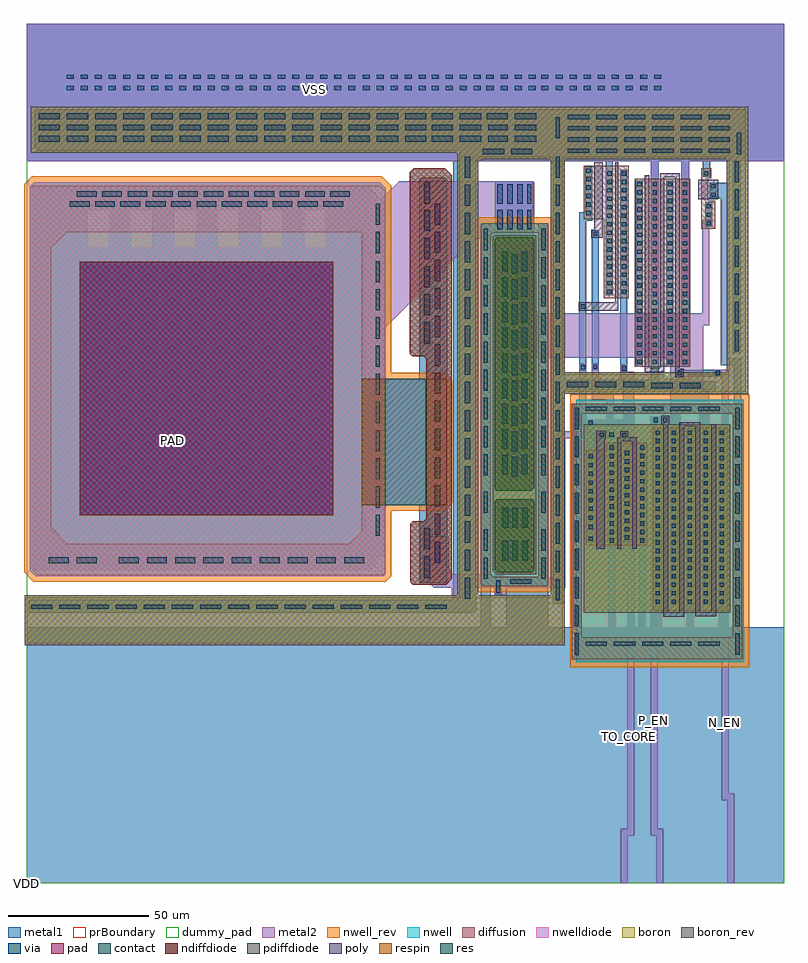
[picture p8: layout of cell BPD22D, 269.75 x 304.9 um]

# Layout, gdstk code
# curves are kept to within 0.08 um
import gdstk
lib = gdstk.Library(unit=1e-6, precision=1e-09)
def R(c, l, rs):  # rectangles x0, y0, x1, y1
    for r in rs: c.add(gdstk.rectangle(r[:2], r[2:], *l))
def A(c, l, x, y, w, h, nx, ny, dx, dy):  # array of equal rectangles
    R(c, l, [(x+i*dx, y+j*dy, x+i*dx+w, y+j*dy+h) for i in range(nx) for j in range(ny)])
def P(c, l, *ps):  # polygons
    for p in ps: c.add(gdstk.Polygon(p, *l))
nwell = (1, 0)
diffusion = (2, 0)
nwell_rev = (3, 0)
poly = (4, 0)
boron = (5, 0)
boron_rev = (6, 0)
contact = (7, 0)
metal1 = (8, 0)
via = (9, 0)
metal2 = (10, 0)
pad = (11, 0)
prBoundary = (28, 0)
res = (35, 0)
respin = (36, 0)
pdiffdiode = (37, 0)
nwelldiode = (38, 0)
ndiffdiode = (39, 0)
dummy_pad = (40, 0)

bpd22d = lib.new_cell('BPD22D')
R(bpd22d, nwell, [(195,78.6,254.45,171.45)])
P(bpd22d, nwell, [(161.5,105.25),(161.15,105.6),(161.15,233.95),(161.45,234.25),(185,234.25),(185.15,234.1),(185.15,105.6),(184.8,105.25)],
  [(3.15,108.95),(1.05,111.05),(1.05,247.25),(2.6,248.8),(125.25,248.8),(127.4,246.65),(127.4,179.652),(128.002,179.05),(147.45,179.05),(149.1,177.4),(149.1,135.7),(147.45,134.05),(128.058,134.05),(127.45,133.442),(127.45,109.75),(126.65,108.95)])
R(bpd22d, diffusion, [(222.2,96.6,249,161.6), (215.75,183.3,235.45,250)])
P(bpd22d, diffusion, [(162.101,105.25),(161.15,106.201),(161.15,233.344),(162.056,234.25),(181.65,234.25),(181.65,230.75),(165.536,230.75),(164.65,229.864),(164.65,109.515),(165.415,108.75),(181.395,108.75),(181.65,109.005),(181.65,234.25),(184.95,234.25),(185.15,234.05),(185.15,106.052),(184.348,105.25)],
  [(3.95,109.3),(1.05,112.2),(1.05,246.563),(2.037,247.55),(119,247.55),(119,231),(14.214,231),(8.7,225.486),(8.7,126.204),(14.404,120.5),(114.449,120.5),(119,125.051),(119,247.55),(125.563,247.55),(127.35,245.763),(127.35,109.952),(126.698,109.3)],
  [(137.101,105.95),(136.1,106.951),(136.1,127.549),(136.951,128.4),(140.987,128.4),(141.85,129.263),(141.85,185.999),(140.849,187),(136.906,187),(136,187.906),(136,252.285),(137.365,253.65),(148.4,253.65),(150.9,251.15),(150.9,108.002),(148.848,105.95)],
  [(0,85.15),(0,101.45),(153.45,101.45),(153.45,259.248),(152.848,259.85),(3.814,259.85),(2.85,260.814),(2.85,273.45),(4.05,274.65),(186.75,274.65),(186.75,257.65),(160.704,257.65),(159.55,256.496),(159.552,101.45),(186.295,101.45),(186.75,101.905),(186.75,274.65),(249.15,274.65),(249.15,257.65),(190.25,257.65),(190.25,180.6),(226.3,180.6),(226.3,178.95),(234.75,178.95),(234.75,180.6),(249.15,180.6),(249.15,274.65),(255.3,274.65),(255.3,174.4),(190.25,174.4),(190.25,85.15)],
  [(193.4,79.4),(193.4,87.2),(193.45,87.2),(193.45,170.1),(250.55,170.1),(250.55,166.6),(196.95,166.6),(196.95,87.2),(250.55,87.2),(250.55,170.1),(254.05,170.1),(254.05,79.4)],
  [(167.105,110.25),(166.15,111.205),(166.15,135.6),(166.8,136.25),(179.65,136.25),(180.15,135.75),(180.15,111.15),(179.25,110.25)],
  [(166.752,139.25),(166.15,139.852),(166.15,228.35),(167.05,229.25),(179.448,229.25),(180.15,228.548),(180.15,140.156),(179.244,139.25)],
  [(198.5,119.85),(198.5,153.85),(205.7,153.85),(205.7,156.35),(220.2,156.35),(220.2,119.85)],
  [(239.5,232.3),(239.5,253.65),(243,253.65),(243,250.15),(242,250.15),(242,242.15),(244.45,242.15),(244.45,232.3)],
  [(204.9,207.6),(204.9,235.6),(197.7,235.6),(197.7,254.6),(213.75,254.6),(213.75,207.6)])
R(bpd22d, nwell_rev, [(193,76.6,256.45,173.45)])
P(bpd22d, nwell_rev, [(160.672,103.25),(159.15,104.772),(159.15,234.778),(160.622,236.25),(185.828,236.25),(187.15,234.928),(187.15,104.772),(185.628,103.25)],
  [(2.322,106.95),(-0.95,110.222),(-0.95,248.078),(1.772,250.8),(126.078,250.8),(129.4,247.478),(129.4,181.05),(148.278,181.05),(151.1,178.228),(151.1,134.872),(148.278,132.05),(129.45,132.05),(129.45,108.922),(127.478,106.95)])
R(bpd22d, poly, [(238.3,242.65,245.45,249.65)])
P(bpd22d, poly, [(225.9,94.55),(225.9,162.9),(225.2,162.9),(225.2,165.8),(228.15,165.8),(228.15,162.9),(227.7,162.9),(227.7,96.1),(231.6,96.1),(231.6,163.6),(239.1,163.6),(239.1,96.1),(243,96.1),(243,162.8),(244.8,162.8),(244.8,94.6),(237.3,94.6),(237.3,162.1),(233.4,162.1),(233.4,94.55)],
  [(230.25,179.55),(230.25,250.5),(226.35,250.5),(226.35,181.3),(219.45,181.3),(219.45,251.2),(220.95,251.2),(220.95,182.8),(224.85,182.8),(224.85,252),(231.75,252),(231.75,182.45),(233.2,182.45),(233.2,179.55)],
  [(202.2,118.65),(202.2,160.6),(205.6,160.6),(205.6,157.7),(205.2,157.7),(205.2,118.65)],
  [(209.6,118.65),(209.6,158.25),(210.6,158.25),(210.6,160.35),(213.55,160.35),(213.55,158.25),(216.5,158.25),(216.5,118.65),(215,118.65),(215,156.85),(211.1,156.85),(211.1,118.65)],
  [(200.4,229),(200.4,231.9),(201.4,231.9),(201.4,255.85),(204.4,255.85),(204.4,229)],
  [(196,203.15),(196,206.05),(208.85,206.05),(208.85,255.85),(210.05,255.85),(210.05,203.15)])
R(bpd22d, boron, [(197.8,95.9,249.8,162.85)])
P(bpd22d, boron, [(166.6,109.55),(165.45,110.7),(165.45,229.5),(165.9,229.95),(180.85,229.95),(180.85,109.55)],
  [(-0.7,84.45),(-0.7,102.15),(152.75,102.15),(152.75,258.6),(152.2,259.15),(1.4,259.15),(1.4,275.45),(186.05,275.45),(186.05,256.95),(161.451,256.95),(160.25,255.749),(160.25,102.15),(185.7,102.15),(186.05,102.5),(186.05,275.45),(248.45,275.45),(248.45,256.95),(190.95,256.95),(190.95,181.35),(248.45,181.35),(248.45,275.45),(256.05,275.45),(256.05,173.7),(190.95,173.7),(190.95,84.45)])
R(bpd22d, boron_rev, [(197.8,95.9,249.8,162.85)])
P(bpd22d, boron_rev, [(166.6,109.55),(165.45,110.7),(165.45,229.5),(165.9,229.95),(180.85,229.95),(180.85,109.55)],
  [(-0.7,84.45),(-0.7,102.15),(152.75,102.15),(152.75,258.6),(152.2,259.15),(1.4,259.15),(1.4,275.45),(186.05,275.45),(186.05,256.95),(161.451,256.95),(160.25,255.749),(160.25,102.15),(185.7,102.15),(186.05,102.5),(186.05,275.45),(248.45,275.45),(248.45,256.95),(190.95,256.95),(190.95,181.35),(248.45,181.35),(248.45,275.45),(256.05,275.45),(256.05,173.7),(190.95,173.7),(190.95,84.45)])
A(bpd22d, contact, 194.45, 81.1, 1.5, 7.5, 1, 9, 0, 10)
A(bpd22d, contact, 251.55, 81.1, 1.5, 7.5, 1, 9, 0, 10)
A(bpd22d, contact, 198.45, 84.2, 7.5, 1.5, 5, 2, 10, 83.4)
A(bpd22d, contact, 1.55, 97.3, 7.5, 1.5, 15, 1, 10, 0)
A(bpd22d, contact, 223.2, 99.1, 1.5, 1.5, 5, 3, 5.7, 3)
A(bpd22d, contact, 187.75, 100.35, 1.5, 7.5, 1, 16, 0, 10)
A(bpd22d, contact, 155.45, 100.85, 2, 7.5, 1, 3, 0, 10)
A(bpd22d, contact, 223.2, 108.1, 1.5, 1.5, 3, 6, 11.4, 6)
A(bpd22d, contact, 223.2, 111.1, 1.5, 1.5, 5, 6, 5.7, 6)
A(bpd22d, contact, 32.75, 113.55, 7, 2, 9, 1, 10, 0)
A(bpd22d, contact, 168.85, 114.4, 2, 7, 3, 2, 3.5, 11.75)
A(bpd22d, contact, 206.9, 120.85, 1.5, 1.5, 1, 12, 0, 3)
A(bpd22d, contact, 217.7, 120.85, 1.5, 1.5, 1, 12, 0, 3)
A(bpd22d, contact, 123.85, 123.25, 1.5, 7.5, 1, 10, 0, 10)
A(bpd22d, contact, 144.85, 123.65, 2, 7.5, 1, 12, 0, 10)
A(bpd22d, contact, 155.45, 130.35, 2, 7.5, 1, 13, 0, 10)
A(bpd22d, contact, 212.3, 130.85, 1.5, 1.5, 1, 4, 0, 3)
A(bpd22d, contact, 223.2, 144.1, 1.5, 1.5, 5, 2, 5.7, 6)
A(bpd22d, contact, 172.25, 144.25, 2, 7, 1, 9, 0, 9)
A(bpd22d, contact, 162.15, 144.65, 1.5, 7.5, 1, 9, 0, 10)
A(bpd22d, contact, 182.65, 144.65, 1.5, 7.5, 1, 9, 0, 10)
A(bpd22d, contact, 168.75, 145.05, 2, 7, 1, 9, 0, 9)
A(bpd22d, contact, 175.75, 145.05, 2, 7, 1, 9, 0, 9)
A(bpd22d, contact, 223.2, 147.1, 1.5, 1.5, 3, 2, 11.4, 9)
A(bpd22d, contact, 223.2, 153.1, 1.5, 1.5, 5, 2, 5.7, 6)
A(bpd22d, contact, 191.75, 175.9, 7.5, 2, 3, 1, 10, 0)
A(bpd22d, contact, 216.75, 184.3, 1.5, 1.5, 4, 4, 5.4, 6)
A(bpd22d, contact, 222.15, 187.3, 1.5, 1.5, 1, 3, 0, 6)
A(bpd22d, contact, 232.95, 187.3, 1.5, 1.5, 1, 3, 0, 6)
A(bpd22d, contact, 251.3, 188.75, 1.5, 7.5, 1, 7, 0, 10)
A(bpd22d, contact, 141.05, 191.45, 2, 7.5, 1, 5, 0, 10)
A(bpd22d, contact, 216.75, 205.3, 1.5, 1.5, 4, 8, 5.4, 6)
A(bpd22d, contact, 216.75, 208.3, 1.5, 1.5, 1, 7, 0, 6)
A(bpd22d, contact, 227.55, 208.3, 1.5, 1.5, 1, 7, 0, 6)
A(bpd22d, contact, 206.1, 209.1, 1.5, 1.5, 1, 15, 0, 3)
A(bpd22d, contact, 211.25, 209.1, 1.5, 1.5, 1, 15, 0, 3)
A(bpd22d, contact, 198.7, 237.1, 1.5, 1.5, 1, 6, 0, 3)
A(bpd22d, contact, 15.3, 240.05, 7, 2, 11, 1, 9, 0)
A(bpd22d, contact, 17.8, 243.55, 7, 2, 10, 1, 9, 0)
A(bpd22d, contact, 192.1, 259.15, 7.5, 1.5, 6, 4, 10, 4)
A(bpd22d, contact, 4.3, 263.15, 7.5, 2, 14, 3, 10, 4)
A(bpd22d, contact, 143.8, 263.15, 7.5, 2, 1, 3, 0, 4)
A(bpd22d, contact, 173.3, 263.15, 7.5, 2, 1, 3, 0, 4)
R(bpd22d, contact, [(171.55,106.25,179.05,107.75), (162.15,108,163.65,115.5), (182.65,108,184.15,115.5), (141.05,108.4,143.05,115.9), (7.85,113.55,14.85,115.55), (17.85,113.55,24.85,115.55), (162.15,118,163.65,125.5), (182.65,118,184.15,125.5), (141.05,118.45,143.05,125.95), (199.5,121.45,201,122.95), (212.3,121.85,213.8,123.35), (212.3,124.85,213.8,126.35), (199.5,125.65,201,127.15), (199.5,128.9,201,130.4), (162.15,131.4,163.65,138.9), (182.65,131.4,184.15,138.9), (199.5,132.1,201,133.6), (199.5,135.1,201,136.6), (199.5,138.3,201,139.8), (199.5,141.3,201,142.8), (199.5,144.5,201,146), (212.3,145.85,213.8,147.35), (199.5,147.5,201,149), (199.5,150.7,201,152.2), (212.3,151.85,213.8,153.35), (211.35,158.15,212.85,159.65), (203.4,158.4,204.9,159.9), (225.95,163.6,227.45,165.1), (221.75,175.65,229.25,177.65), (231.75,175.65,239.25,177.65), (231,180.25,232.5,181.75), (196.7,203.85,198.2,205.35), (123.85,223.6,125.35,231.1), (201.1,229.7,202.6,231.2), (123.85,233.6,125.35,241.1), (241.35,236.45,242.85,237.95), (241.35,239.45,242.85,240.95), (141.05,241.15,143.05,248.65), (107.8,243.55,114.7,245.55), (243,243.55,244.5,245.05), (243,246.55,244.5,248.05), (240.5,251.15,242,252.65), (161.95,258.65,169.45,260.65), (171.95,258.65,179.45,260.65), (252.1,258.75,253.6,266.25), (153.65,263.15,161.3,265.15), (163.8,263.15,170.8,265.15), (187.75,264.35,189.25,271.85), (153.65,267.15,161.3,269.15), (163.8,267.15,170.8,269.15), (153.8,271.15,161.3,273.15), (163.3,271.15,170.8,273.15)])
R(bpd22d, metal1, [(0,0,268.8,90.7), (228.4,98.6,230.9,161.1), (239.8,98.6,242.3,161.1), (211.8,121.35,214.3,155.05), (202.9,157.9,208.8,160.4), (222,163.1,228,165.6), (230.5,179.75,246.5,182.25), (210.75,181.4,213.25,253.15), (216.25,183.8,218.75,249.3), (227.05,183.8,229.55,249.3), (240.85,232.95,243.35,241.55), (0,256.2,268.8,304.9)])
P(bpd22d, metal1, [(0.75,95.85),(0.75,100.5),(151.35,100.5),(151.35,256.2),(0,256.2),(0,304.9),(221.55,304.9),(221.55,256.2),(208.1,256.2),(208.1,208.6),(205.6,208.6),(205.6,256.2),(190.95,256.2),(190.95,178.6),(221.55,178.6),(221.55,304.9),(268.8,304.9),(268.8,256.2),(253.45,256.2),(253.45,188),(250.6,188),(250.6,256.2),(242.6,256.2),(242.6,250.65),(240,250.65),(240,256.2),(235.1,256.2),(235.1,183.8),(232.35,183.8),(232.35,256.2),(224.3,256.2),(224.3,178.15),(244.6,178.15),(244.6,175.1),(190.95,175.1),(190.95,99.3),(190.85,99.2),(186.85,99.2),(186.75,99.3),(186.75,255.344),(185.894,256.2),(160.252,256.2),(159.55,255.498),(159.55,97.066),(158.334,95.85)],
  [(2.45,110.8),(1.75,111.5),(1.75,245.949),(3.351,247.55),(29.2,247.55),(29.2,238.55),(21.5,238.55),(21.5,225.55),(29.2,225.55),(29.2,247.55),(44.6,247.55),(44.6,238.55),(36.9,238.55),(36.9,225.55),(44.6,225.55),(44.6,247.55),(60,247.55),(60,238.55),(52.3,238.55),(52.3,225.55),(60,225.55),(60,247.55),(75.4,247.55),(75.4,238.55),(67.7,238.55),(67.7,225.55),(75.4,225.55),(75.4,247.55),(90.8,247.55),(90.8,238.55),(83.1,238.55),(83.1,225.55),(90.8,225.55),(90.8,247.55),(106.2,247.55),(106.2,238.55),(98.5,238.55),(98.5,225.55),(106.2,225.55),(106.2,247.55),(121.25,247.55),(127.4,241.4),(127.4,214),(127.3,214),(127.35,116.437),(121.713,110.8)],
  [(139.35,106.65),(139.35,249.685),(139.915,250.25),(148.548,250.25),(149.35,249.448),(149.35,106.65)],
  [(0,0),(0,90.7),(160.689,90.7),(161.15,91.161),(161.15,233.85),(161.55,234.25),(164.197,234.25),(164.65,233.797),(164.65,91.05),(165,90.7),(169.7,90.7),(170.15,91.15),(170.15,108.248),(170.652,108.75),(181.395,108.75),(181.65,109.005),(181.65,233.847),(182.053,234.25),(184.8,234.25),(185.15,233.9),(185.15,91.202),(185.652,90.7),(193.95,90.7),(193.95,169.6),(251.05,169.6),(251.05,167.1),(196.45,167.1),(196.45,90.7),(206.4,90.7),(206.4,155.85),(208.9,155.85),(208.9,90.7),(217.2,90.7),(217.2,155.85),(219.7,155.85),(219.7,90.7),(222.7,90.7),(222.7,161.1),(225.2,161.1),(225.2,90.7),(234.1,90.7),(234.1,161.1),(236.6,161.1),(236.6,90.7),(245.5,90.7),(245.5,161.1),(248,161.1),(248,90.7),(251.05,90.7),(251.05,183.75),(246.35,183.75),(246.35,243.05),(242.5,243.05),(242.5,248.55),(248.85,248.55),(248.85,186.3),(253.55,186.3),(253.55,90.7),(268.8,90.7),(268.8,0)],
  [(166.15,102.35),(166.15,135.394),(166.157,135.412),(166.237,135.531),(166.956,136.25),(179.348,136.25),(180.15,135.448),(180.15,111.27),(179.13,110.25),(169.601,110.25),(168.65,109.299),(168.65,102.35)],
  [(166.75,139.25),(166.15,139.85),(166.15,248.498),(166.802,249.15),(179.747,249.15),(180.115,248.782),(180.15,248.697),(180.15,140.156),(179.244,139.25)],
  [(196.2,181.85),(196.2,238.05),(198.2,238.05),(198.2,254.2),(200.7,254.2),(200.7,235.1),(198.7,235.1),(198.7,181.85)],
  [(200.6,181.95),(200.6,231.7),(203.1,231.7),(203.1,229.2),(203.05,229.2),(203.05,212.7),(203.1,212.7),(203.1,181.95)],
  [(199,120.95),(199,164.65),(213.35,164.65),(213.35,157.65),(210.85,157.65),(210.85,162.15),(201.4,162.15),(201.4,153.85),(201.5,153.85),(201.5,120.95)])
A(bpd22d, via, 228.9, 108.1, 1.5, 1.5, 1, 6, 0, 6)
A(bpd22d, via, 240.3, 108.1, 1.5, 1.5, 1, 6, 0, 6)
A(bpd22d, via, 216.75, 187.3, 1.5, 1.5, 1, 3, 0, 6)
A(bpd22d, via, 227.55, 187.3, 1.5, 1.5, 1, 3, 0, 6)
A(bpd22d, via, 222.15, 208.3, 1.5, 1.5, 1, 7, 0, 6)
A(bpd22d, via, 232.95, 208.3, 1.5, 1.5, 1, 7, 0, 6)
A(bpd22d, via, 182.7, 281.4, 2.5, 1.5, 9, 2, 5, 4)
A(bpd22d, via, 14.2, 281.45, 2.5, 1.5, 26, 2, 5, 4)
A(bpd22d, via, 143.7, 281.45, 2.5, 1.5, 4, 2, 5, 4)
A(bpd22d, via, 163.2, 281.45, 2.5, 1.5, 4, 2, 5, 4)
R(bpd22d, via, [(166.65,102.85,168.15,107.5), (144.85,113.65,146.85,121.15), (212.3,127.85,213.8,129.35), (18.8,130.55,108.8,220.55), (212.3,142.85,213.8,144.35), (228.9,147.1,230.4,148.6), (240.3,147.1,241.8,148.6), (212.3,148.85,213.8,150.35), (228.9,156.1,230.4,157.6), (240.3,156.1,241.8,157.6), (206.8,158.4,208.3,159.9), (199.5,162.65,201,164.15), (222.5,163.6,224,165.1), (244.5,180.25,246,181.75), (211.25,181.9,212.75,183.4), (196.7,182.35,198.2,183.85), (201.1,182.45,202.6,183.95), (167.05,232.05,169.05,239.05), (170.6,232.05,172.6,239.05), (174.1,232.05,176.1,239.05), (177.6,232.05,179.1,239.05), (241.35,233.45,242.85,234.95), (167.05,241.05,169.05,248.05), (170.6,241.05,172.6,248.05), (174.1,241.05,176.1,248.05), (177.6,241.05,179.1,248.05)])
R(bpd22d, metal2, [(0,256.2,268.8,304.9)])
P(bpd22d, metal2, [(196.2,162.15),(196.2,184.35),(198.7,184.35),(198.7,164.65),(201.5,164.65),(201.5,162.15)],
  [(223.45,0),(223.45,16.8),(221.55,16.8),(221.55,165.6),(224.5,165.6),(224.5,163.1),(224.05,163.1),(224.05,19.3),(225.95,19.3),(225.95,0)],
  [(210.85,0),(210.85,19.3),(213.15,19.3),(213.15,104.1),(211.8,104.1),(211.8,179),(210.75,179),(210.75,183.95),(213.25,183.95),(213.25,181.4),(215.65,181.4),(215.65,16.8),(213.35,16.8),(213.35,0)],
  [(228.4,107.6),(228.35,184.999),(226.999,186.35),(168.001,186.35),(166.7,187.651),(166.7,226.049),(164.149,228.6),(158.798,228.6),(120.3,190.118),(120.3,126.352),(119.498,125.55),(14.751,125.55),(13.8,126.501),(13.8,224.7),(14.65,225.55),(108.749,225.55),(132.15,248.951),(132.15,249.15),(179.7,249.15),(179.7,204.551),(182.101,202.15),(239.8,202.15),(239.8,235.45),(243.35,235.45),(243.35,232.95),(242.3,232.95),(242.3,197.95),(240.2,197.95),(240.2,174.8),(242.3,174.8),(242.3,107.6),(238.7,107.6),(238.7,169.45),(232.05,169.45),(232.05,107.6)],
  [(248.65,0),(248.65,29.4),(246.75,29.4),(246.75,179.75),(244,179.75),(244,182.25),(249.25,182.25),(249.25,31.9),(251.15,31.9),(251.15,0)],
  [(221.55,207.8),(221.55,256.2),(0,256.2),(0,304.9),(268.8,304.9),(268.8,256.2),(235.1,256.2),(235.1,207.8),(232.35,207.8),(232.35,256.2),(224.3,256.2),(224.3,207.8)],
  [(151.302,101.15),(150.8,101.652),(150.8,104.85),(144.453,104.85),(142.8,106.503),(142.8,122.548),(143.302,123.05),(149.298,123.05),(149.8,122.548),(149.8,111.101),(151.351,109.55),(169.55,109.55),(170.702,108.3),(188.65,108.3),(188.65,160.4),(205.85,160.4),(205.85,171.6),(200.6,171.6),(200.6,184.45),(203.1,184.45),(203.1,174.1),(208.4,174.1),(208.4,160.4),(208.8,160.4),(208.8,157.9),(191.15,157.9),(191.15,104.75),(170.5,104.75),(170.15,104.4),(170.15,102.35),(166.15,102.35),(165.95,102.55),(165.95,104.6),(165.7,104.85),(156.311,104.85),(155.85,104.389),(155.85,101.75),(155.25,101.15)])
R(bpd22d, pad, [(18.8,130.55,108.8,220.55)])
R(bpd22d, prBoundary, [(0,0,268.8,304.9)])
R(bpd22d, res, [(127.35,134.05,141.85,179.05)])
R(bpd22d, respin, [(119,134.05,127.35,179.05), (141.85,134.05,149.1,179.05)])
P(bpd22d, pdiffdiode, [(167.105,110.25),(166.15,111.205),(166.15,135.6),(166.8,136.25),(179.65,136.25),(180.15,135.75),(180.15,111.15),(179.25,110.25)],
  [(166.752,139.25),(166.15,139.852),(166.15,228.35),(167.05,229.25),(179.448,229.25),(180.15,228.548),(180.15,140.156),(179.244,139.25)])
P(bpd22d, nwelldiode, [(3.15,108.95),(1.05,111.05),(1.05,247.25),(2.6,248.8),(125.25,248.8),(127.4,246.65),(127.4,179.652),(128.002,179.05),(147.45,179.05),(149.1,177.4),(149.1,135.7),(147.45,134.05),(128.058,134.05),(127.45,133.442),(127.45,109.75),(126.65,108.95)])
P(bpd22d, ndiffdiode, [(137.101,105.95),(136.1,106.951),(136.1,127.549),(136.951,128.4),(140.987,128.4),(141.85,129.263),(141.85,185.999),(140.849,187),(136.906,187),(136,187.906),(136,252.285),(137.365,253.65),(148.4,253.65),(150.9,251.15),(150.9,108.002),(148.848,105.95)])
R(bpd22d, dummy_pad, [(0,0,268.8,304.9)])
bpd22d.add(gdstk.Label('TO_CORE', (213.9,51.85), layer=10, texttype=7))
bpd22d.add(gdstk.Label('VSS', (102,281.801), layer=10, texttype=7))
bpd22d.add(gdstk.Label('P_EN', (222.6,57.75), layer=10, texttype=7))
bpd22d.add(gdstk.Label('N_EN', (247.6,57), layer=10, texttype=7))
bpd22d.add(gdstk.Label('PAD', (51.6,157), layer=10, texttype=7))
bpd22d.add(gdstk.Label('VDD', (0.001,0.001), layer=8, texttype=7))

lib.write_gds('BPD22D.gds')
